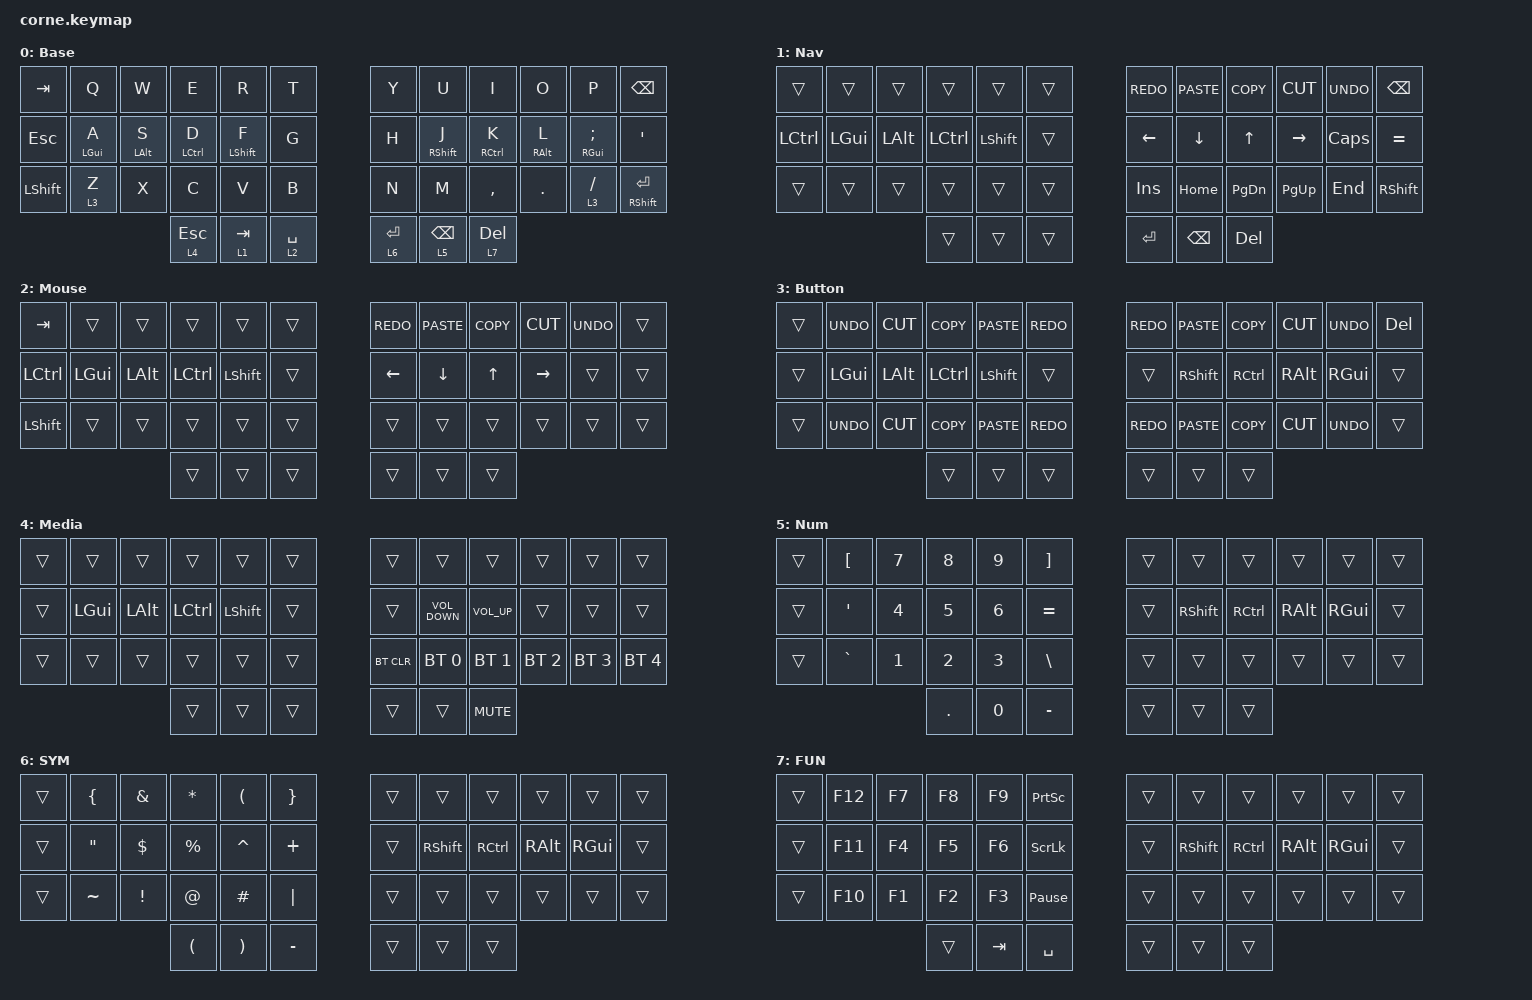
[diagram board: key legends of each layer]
/*
 * Copyright (c) 2020 The ZMK Contributors
 *
 * SPDX-License-Identifier: MIT
 */

#include <behaviors.dtsi>
#include <dt-bindings/zmk/bt.h>
#include <dt-bindings/zmk/keys.h>

/ {
    keymap {
        compatible = "zmk,keymap";

        default_layer {
            label = "Base";
            bindings = <
&kp TAB     &kp Q           &kp W           &kp E         &kp R             &kp T          &kp Y        &kp U              &kp I        &kp O            &kp P               &kp BSPC
&kp ESCAPE  &mt LEFT_GUI A  &mt LEFT_ALT S  &mt LCTRL D   &mt LEFT_SHIFT F  &kp G          &kp H        &mt RIGHT_SHIFT J  &mt RCTRL K  &mt RIGHT_ALT L  &mt RIGHT_GUI SEMI  &kp SQT
&kp LSHFT   &lt 3 Z         &kp X           &kp C         &kp V             &kp B          &kp N        &kp M              &kp COMMA    &kp DOT          &lt 3 FSLH          &mt RIGHT_SHIFT RETURN
                                            &lt 4 ESCAPE  &lt 1 TAB         &lt 2 SPACE    &lt 6 ENTER  &lt 5 BACKSPACE    &lt 7 DEL
            >;
        };

        nav_layer {
            label = "Nav";
            bindings = <
&trans     &trans        &trans        &trans            &trans          &trans    &kp K_REDO  &kp K_PASTE     &kp K_COPY     &kp K_CUT    &kp K_UNDO    &kp BSPC
&kp LCTRL  &kp LEFT_GUI  &kp LEFT_ALT  &kp LEFT_CONTROL  &kp LEFT_SHIFT  &trans    &kp LEFT    &kp DOWN_ARROW  &kp UP_ARROW   &kp RIGHT    &kp CAPSLOCK  &kp EQUAL
&trans     &trans        &trans        &trans            &trans          &trans    &kp INSERT  &kp HOME        &kp PAGE_DOWN  &kp PAGE_UP  &kp END       &kp RIGHT_SHIFT
                                       &trans            &trans          &trans    &kp RET     &kp BACKSPACE   &kp DELETE
            >;
        };

        mouse_layer {
            label = "Mouse";
            bindings = <
&kp TAB    &trans        &trans        &trans            &trans          &trans    &kp K_REDO  &kp K_PASTE     &kp K_COPY    &kp K_CUT  &kp K_UNDO  &trans
&kp LCTRL  &kp LEFT_GUI  &kp LEFT_ALT  &kp LEFT_CONTROL  &kp LEFT_SHIFT  &trans    &kp LEFT    &kp DOWN_ARROW  &kp UP_ARROW  &kp RIGHT  &trans      &trans
&kp LSHFT  &trans        &trans        &trans            &trans          &trans    &trans      &trans          &trans        &trans     &trans      &trans
                                       &trans            &trans          &trans    &trans      &trans          &trans
            >;
        };

        button_layer {
            label = "Button";
            bindings = <
&trans  &kp K_UNDO    &kp K_CUT     &kp K_COPY        &kp K_PASTE     &kp K_REDO    &kp K_REDO  &kp K_PASTE      &kp K_COPY  &kp K_CUT      &kp K_UNDO     &kp DEL
&trans  &kp LEFT_GUI  &kp LEFT_ALT  &kp LEFT_CONTROL  &kp LEFT_SHIFT  &trans        &trans      &kp RIGHT_SHIFT  &kp RCTRL   &kp RIGHT_ALT  &kp RIGHT_GUI  &trans
&trans  &kp K_UNDO    &kp K_CUT     &kp K_COPY        &kp K_PASTE     &kp K_REDO    &kp K_REDO  &kp K_PASTE      &kp K_COPY  &kp K_CUT      &kp K_UNDO     &trans
                                    &trans            &trans          &trans        &trans      &trans           &trans
            >;
        };

        media_layer {
            label = "Media";
            bindings = <
&trans  &trans        &trans        &trans            &trans          &trans    &trans      &trans             &trans           &trans        &trans        &trans
&trans  &kp LEFT_GUI  &kp LEFT_ALT  &kp LEFT_CONTROL  &kp LEFT_SHIFT  &trans    &trans      &kp C_VOLUME_DOWN  &kp C_VOLUME_UP  &trans        &trans        &trans
&trans  &trans        &trans        &trans            &trans          &trans    &bt BT_CLR  &bt BT_SEL 0       &bt BT_SEL 1     &bt BT_SEL 2  &bt BT_SEL 3  &bt BT_SEL 4
                                    &trans            &trans          &trans    &trans      &trans             &kp K_MUTE
            >;
        };

        num_layer {
            label = "Num";
            bindings = <
&trans  &kp LEFT_BRACKET  &kp NUMBER_7  &kp NUMBER_8  &kp NUMBER_9  &kp RIGHT_BRACKET    &trans  &trans           &trans     &trans         &trans         &trans
&trans  &kp SQT           &kp NUMBER_4  &kp NUMBER_5  &kp NUMBER_6  &kp EQUAL            &trans  &kp RIGHT_SHIFT  &kp RCTRL  &kp RIGHT_ALT  &kp RIGHT_GUI  &trans
&trans  &kp GRAVE         &kp NUMBER_1  &kp NUMBER_2  &kp NUMBER_3  &kp BACKSLASH        &trans  &trans           &trans     &trans         &trans         &trans
                                        &kp PERIOD    &kp NUMBER_0  &kp MINUS            &trans  &trans           &trans
            >;
        };

        sym_layer {
            label = "SYM";
            bindings = <
&trans  &kp LEFT_BRACE  &kp AMPERSAND  &kp ASTERISK          &kp LEFT_PARENTHESIS   &kp RIGHT_BRACE    &trans  &trans           &trans     &trans         &trans         &trans
&trans  &kp DQT         &kp DOLLAR     &kp PERCENT           &kp CARET              &kp PLUS           &trans  &kp RIGHT_SHIFT  &kp RCTRL  &kp RIGHT_ALT  &kp RIGHT_GUI  &trans
&trans  &kp TILDE       &kp EXCL       &kp AT                &kp HASH               &kp PIPE           &trans  &trans           &trans     &trans         &trans         &trans
                                       &kp LEFT_PARENTHESIS  &kp RIGHT_PARENTHESIS  &kp MINUS          &trans  &trans           &trans
            >;
        };

        fun_layer {
            label = "FUN";
            bindings = <
&trans  &kp F12  &kp F7  &kp F8  &kp F9   &kp PRINTSCREEN    &trans  &trans           &trans     &trans         &trans         &trans
&trans  &kp F11  &kp F4  &kp F5  &kp F6   &kp SCROLLLOCK     &trans  &kp RIGHT_SHIFT  &kp RCTRL  &kp RIGHT_ALT  &kp RIGHT_GUI  &trans
&trans  &kp F10  &kp F1  &kp F2  &kp F3   &kp PAUSE_BREAK    &trans  &trans           &trans     &trans         &trans         &trans
                         &trans  &kp TAB  &kp SPACE          &trans  &trans           &trans
            >;
        };
    };
};
